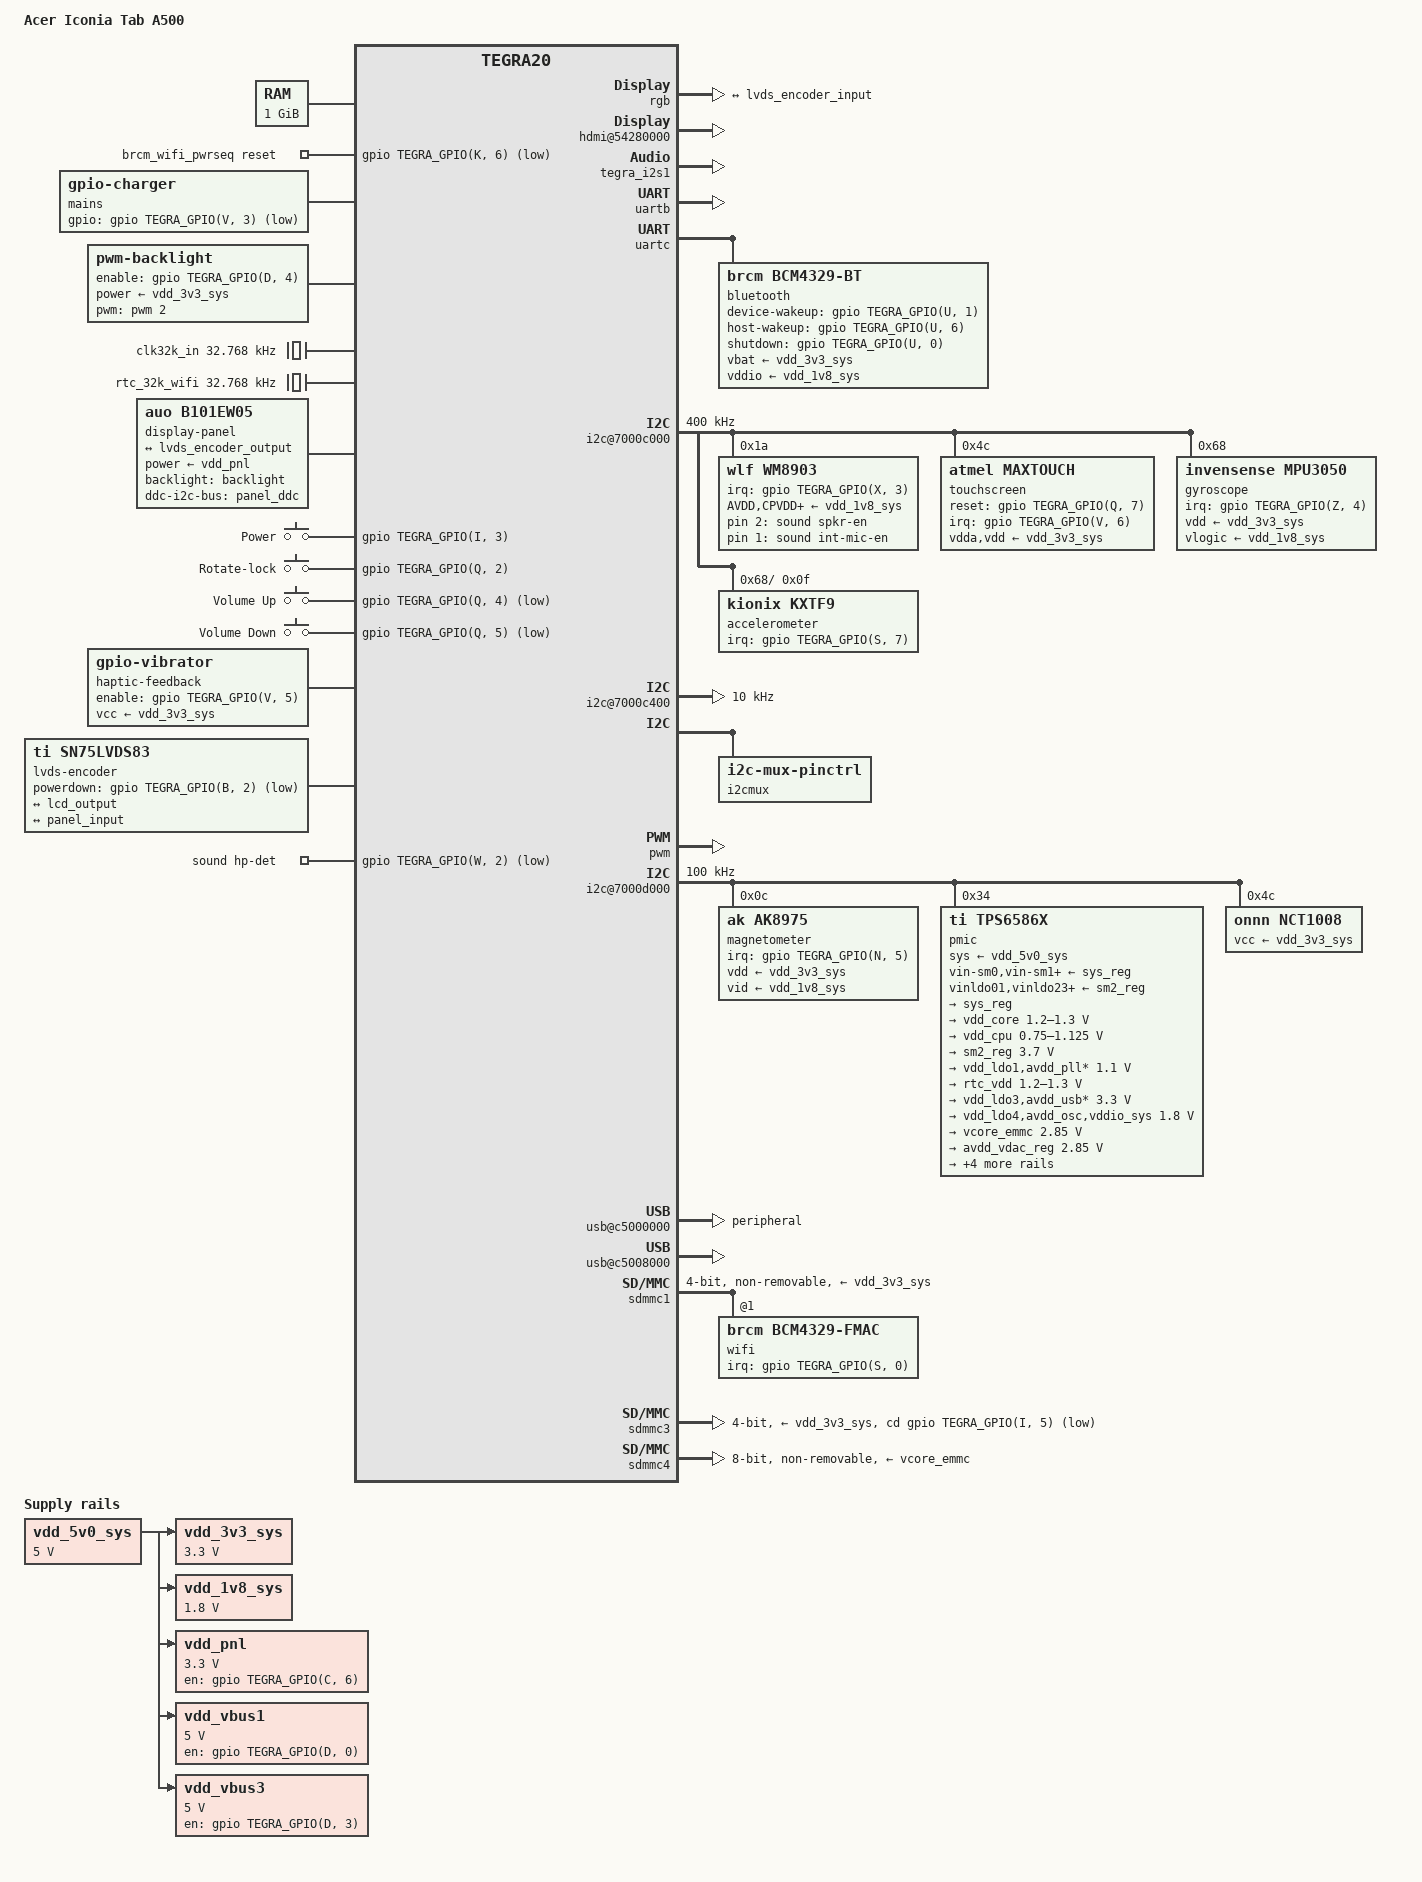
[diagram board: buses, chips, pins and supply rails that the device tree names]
// SPDX-License-Identifier: GPL-2.0
/dts-v1/;

#include <dt-bindings/input/gpio-keys.h>
#include <dt-bindings/input/input.h>
#include <dt-bindings/thermal/thermal.h>

#include "tegra20.dtsi"
#include "tegra20-cpu-opp.dtsi"
#include "tegra20-cpu-opp-microvolt.dtsi"

/ {
	model = "Acer Iconia Tab A500";
	compatible = "acer,picasso", "nvidia,tegra20";

	aliases {
		mmc0 = &sdmmc4; /* eMMC */
		mmc1 = &sdmmc3; /* MicroSD */
		mmc2 = &sdmmc1; /* WiFi */

		rtc0 = &pmic;
		rtc1 = "/rtc@7000e000";

		serial0 = &uartd; /* Docking station */
		serial1 = &uartc; /* Bluetooth */
		serial2 = &uartb; /* GPS */
	};

	/*
	 * The decompressor and also some bootloaders rely on a
	 * pre-existing /chosen node to be available to insert the
	 * command line and merge other ATAGS info.
	 */
	chosen {};

	memory@0 {
		reg = <0x00000000 0x40000000>;
	};

	reserved-memory {
		#address-cells = <1>;
		#size-cells = <1>;
		ranges;

		ramoops@2ffe0000 {
			compatible = "ramoops";
			reg = <0x2ffe0000 0x10000>;	/* 64kB */
			console-size = <0x8000>;	/* 32kB */
			record-size = <0x400>;		/*  1kB */
			ecc-size = <16>;
		};

		linux,cma@30000000 {
			compatible = "shared-dma-pool";
			alloc-ranges = <0x30000000 0x10000000>;
			size = <0x10000000>; /* 256MiB */
			linux,cma-default;
			reusable;
		};
	};

	host1x@50000000 {
		dc@54200000 {
			rgb {
				status = "okay";

				port@0 {
					lcd_output: endpoint {
						remote-endpoint = <&lvds_encoder_input>;
						bus-width = <18>;
					};
				};
			};
		};

		hdmi@54280000 {
			status = "okay";

			vdd-supply = <&hdmi_vdd_reg>;
			pll-supply = <&hdmi_pll_reg>;
			hdmi-supply = <&vdd_5v0_sys>;

			nvidia,ddc-i2c-bus = <&hdmi_ddc>;
			nvidia,hpd-gpio = <&gpio TEGRA_GPIO(N, 7)
				GPIO_ACTIVE_HIGH>;
		};
	};

	pinmux@70000014 {
		pinctrl-names = "default";
		pinctrl-0 = <&state_default>;

		state_default: pinmux {
			ata {
				nvidia,pins = "ata";
				nvidia,function = "ide";
			};
			atb {
				nvidia,pins = "atb", "gma", "gme";
				nvidia,function = "sdio4";
			};
			atc {
				nvidia,pins = "atc";
				nvidia,function = "nand";
			};
			atd {
				nvidia,pins = "atd", "ate", "gmb", "spia",
					"spib", "spic";
				nvidia,function = "gmi";
			};
			cdev1 {
				nvidia,pins = "cdev1";
				nvidia,function = "plla_out";
			};
			cdev2 {
				nvidia,pins = "cdev2";
				nvidia,function = "pllp_out4";
			};
			crtp {
				nvidia,pins = "crtp", "lm1";
				nvidia,function = "crt";
			};
			csus {
				nvidia,pins = "csus";
				nvidia,function = "vi_sensor_clk";
			};
			dap1 {
				nvidia,pins = "dap1";
				nvidia,function = "dap1";
			};
			dap2 {
				nvidia,pins = "dap2";
				nvidia,function = "dap2";
			};
			dap3 {
				nvidia,pins = "dap3";
				nvidia,function = "dap3";
			};
			dap4 {
				nvidia,pins = "dap4";
				nvidia,function = "dap4";
			};
			dta {
				nvidia,pins = "dta", "dtb", "dtc", "dtd", "dte";
				nvidia,function = "vi";
			};
			dtf {
				nvidia,pins = "dtf";
				nvidia,function = "i2c3";
			};
			gmc {
				nvidia,pins = "gmc";
				nvidia,function = "uartd";
			};
			gmd {
				nvidia,pins = "gmd";
				nvidia,function = "sflash";
			};
			gpu {
				nvidia,pins = "gpu";
				nvidia,function = "pwm";
			};
			gpu7 {
				nvidia,pins = "gpu7";
				nvidia,function = "rtck";
			};
			gpv {
				nvidia,pins = "gpv", "slxa";
				nvidia,function = "pcie";
			};
			hdint {
				nvidia,pins = "hdint";
				nvidia,function = "hdmi";
			};
			i2cp {
				nvidia,pins = "i2cp";
				nvidia,function = "i2cp";
			};
			irrx {
				nvidia,pins = "irrx", "irtx";
				nvidia,function = "uartb";
			};
			kbca {
				nvidia,pins = "kbca", "kbcb", "kbcc", "kbcd",
					"kbce", "kbcf";
				nvidia,function = "kbc";
			};
			lcsn {
				nvidia,pins = "lcsn", "ldc", "lm0", "lpw1",
					"lsdi", "lvp0";
				nvidia,function = "rsvd4";
			};
			ld0 {
				nvidia,pins = "ld0", "ld1", "ld2", "ld3", "ld4",
					"ld5", "ld6", "ld7", "ld8", "ld9",
					"ld10", "ld11", "ld12", "ld13", "ld14",
					"ld15", "ld16", "ld17", "ldi", "lhp0",
					"lhp1", "lhp2", "lhs", "lpp", "lsc0",
					"lsc1", "lsck", "lsda", "lspi", "lvp1",
					"lvs";
				nvidia,function = "displaya";
			};
			owc {
				nvidia,pins = "owc", "spdi", "spdo", "uac";
				nvidia,function = "rsvd2";
			};
			pmc {
				nvidia,pins = "pmc";
				nvidia,function = "pwr_on";
			};
			rm {
				nvidia,pins = "rm";
				nvidia,function = "i2c1";
			};
			sdb {
				nvidia,pins = "sdb", "sdc", "sdd", "slxc", "slxk";
				nvidia,function = "sdio3";
			};
			sdio1 {
				nvidia,pins = "sdio1";
				nvidia,function = "sdio1";
			};
			slxd {
				nvidia,pins = "slxd";
				nvidia,function = "spdif";
			};
			spid {
				nvidia,pins = "spid", "spie", "spif";
				nvidia,function = "spi1";
			};
			spig {
				nvidia,pins = "spig", "spih";
				nvidia,function = "spi2_alt";
			};
			uaa {
				nvidia,pins = "uaa", "uab", "uda";
				nvidia,function = "ulpi";
			};
			uad {
				nvidia,pins = "uad";
				nvidia,function = "irda";
			};
			uca {
				nvidia,pins = "uca", "ucb";
				nvidia,function = "uartc";
			};
			conf_ata {
				nvidia,pins = "ata", "atb", "atc", "atd",
					"cdev1", "cdev2", "csus", "dap1",
					"dap4", "dte", "dtf", "gma", "gmc",
					"gme", "gpu", "gpu7", "gpv", "i2cp",
					"irrx", "irtx", "pta", "rm",
					"sdc", "sdd", "slxc", "slxd", "slxk",
					"spdi", "spdo", "uac", "uad", "uda";
				nvidia,pull = <TEGRA_PIN_PULL_NONE>;
				nvidia,tristate = <TEGRA_PIN_DISABLE>;
			};
			conf_ate {
				nvidia,pins = "ate", "dap2", "dap3",
					"gmd", "owc", "spia", "spib", "spic",
					"spid", "spie";
				nvidia,pull = <TEGRA_PIN_PULL_NONE>;
				nvidia,tristate = <TEGRA_PIN_ENABLE>;
			};
			conf_ck32 {
				nvidia,pins = "ck32", "ddrc", "pmca", "pmcb",
					"pmcc", "pmcd", "pmce", "xm2c", "xm2d";
				nvidia,pull = <TEGRA_PIN_PULL_NONE>;
			};
			conf_crtp {
				nvidia,pins = "crtp", "gmb", "slxa", "spig",
					"spih";
				nvidia,pull = <TEGRA_PIN_PULL_UP>;
				nvidia,tristate = <TEGRA_PIN_ENABLE>;
			};
			conf_dta {
				nvidia,pins = "dta", "dtb", "dtc", "dtd", "kbcb";
				nvidia,pull = <TEGRA_PIN_PULL_DOWN>;
				nvidia,tristate = <TEGRA_PIN_DISABLE>;
			};
			conf_dte {
				nvidia,pins = "spif";
				nvidia,pull = <TEGRA_PIN_PULL_DOWN>;
				nvidia,tristate = <TEGRA_PIN_ENABLE>;
			};
			conf_hdint {
				nvidia,pins = "hdint", "lcsn", "ldc", "lm1",
					"lpw1", "lsck", "lsda", "lsdi",
					"lvp0";
				nvidia,tristate = <TEGRA_PIN_ENABLE>;
			};
			conf_kbca {
				nvidia,pins = "kbca", "kbcc", "kbcd",
					"kbce", "kbcf", "sdio1", "uaa",
					"uab", "uca", "ucb";
				nvidia,pull = <TEGRA_PIN_PULL_UP>;
				nvidia,tristate = <TEGRA_PIN_DISABLE>;
			};
			conf_lc {
				nvidia,pins = "lc", "ls";
				nvidia,pull = <TEGRA_PIN_PULL_UP>;
			};
			conf_ld0 {
				nvidia,pins = "ld0", "ld1", "ld2", "ld3", "ld4",
					"ld5", "ld6", "ld7", "ld8", "ld9",
					"ld10", "ld11", "ld12", "ld13", "ld14",
					"ld15", "ld16", "ld17", "ldi", "lhp0",
					"lhp1", "lhp2", "lhs", "lm0", "lpp",
					"lpw0", "lpw2", "lsc0", "lsc1", "lspi",
					"lvp1", "lvs", "pmc", "sdb";
				nvidia,tristate = <TEGRA_PIN_DISABLE>;
			};
			conf_ld17_0 {
				nvidia,pins = "ld17_0";
				nvidia,pull = <TEGRA_PIN_PULL_NONE>;
			};
			drive_ddc {
				nvidia,pins = "drive_ddc",
						"drive_vi1",
						"drive_sdio1";
				nvidia,pull-up-strength = <31>;
				nvidia,pull-down-strength = <31>;
				nvidia,schmitt = <TEGRA_PIN_ENABLE>;
				nvidia,high-speed-mode = <TEGRA_PIN_DISABLE>;
				nvidia,low-power-mode = <TEGRA_PIN_LP_DRIVE_DIV_1>;
				nvidia,slew-rate-rising = <TEGRA_PIN_SLEW_RATE_SLOWEST>;
				nvidia,slew-rate-falling = <TEGRA_PIN_SLEW_RATE_SLOWEST>;
			};
			drive_dbg {
				nvidia,pins = "drive_dbg",
						"drive_vi2",
						"drive_at1",
						"drive_ao1";
				nvidia,pull-up-strength = <31>;
				nvidia,pull-down-strength = <31>;
				nvidia,schmitt = <TEGRA_PIN_ENABLE>;
				nvidia,high-speed-mode = <TEGRA_PIN_DISABLE>;
				nvidia,low-power-mode = <TEGRA_PIN_LP_DRIVE_DIV_1>;
				nvidia,slew-rate-rising = <TEGRA_PIN_SLEW_RATE_FASTEST>;
				nvidia,slew-rate-falling = <TEGRA_PIN_SLEW_RATE_FASTEST>;
			};
		};

		state_i2cmux_ddc: pinmux_i2cmux_ddc {
			ddc {
				nvidia,pins = "ddc";
				nvidia,function = "i2c2";
			};
			pta {
				nvidia,pins = "pta";
				nvidia,function = "rsvd4";
			};
		};

		state_i2cmux_pta: pinmux_i2cmux_pta {
			ddc {
				nvidia,pins = "ddc";
				nvidia,function = "rsvd4";
			};
			pta {
				nvidia,pins = "pta";
				nvidia,function = "i2c2";
			};
		};

		state_i2cmux_idle: pinmux_i2cmux_idle {
			ddc {
				nvidia,pins = "ddc";
				nvidia,function = "rsvd4";
			};
			pta {
				nvidia,pins = "pta";
				nvidia,function = "rsvd4";
			};
		};
	};

	tegra_i2s1: i2s@70002800 {
		status = "okay";
	};

	uartb: serial@70006040 {
		compatible = "nvidia,tegra20-hsuart";
		/* GPS BCM4751 */
	};

	uartc: serial@70006200 {
		compatible = "nvidia,tegra20-hsuart";
		status = "okay";

		/* Azurewave AW-NH665 BCM4329B1 */
		bluetooth {
			compatible = "brcm,bcm4329-bt";

			/* PLLP 216MHz / 16 / 4 */
			max-speed = <3375000>;

			clocks = <&rtc_32k_wifi>;
			clock-names = "txco";

			vbat-supply  = <&vdd_3v3_sys>;
			vddio-supply = <&vdd_1v8_sys>;

			device-wakeup-gpios = <&gpio TEGRA_GPIO(U, 1) GPIO_ACTIVE_HIGH>;
			host-wakeup-gpios =   <&gpio TEGRA_GPIO(U, 6) GPIO_ACTIVE_HIGH>;
			shutdown-gpios =      <&gpio TEGRA_GPIO(U, 0) GPIO_ACTIVE_HIGH>;
		};
	};

	uartd: serial@70006300 {
		/* Docking station */
	};

	i2c@7000c000 {
		clock-frequency = <400000>;
		status = "okay";

		wm8903: audio-codec@1a {
			compatible = "wlf,wm8903";
			reg = <0x1a>;

			interrupt-parent = <&gpio>;
			interrupts = <TEGRA_GPIO(X, 3) IRQ_TYPE_LEVEL_HIGH>;

			gpio-controller;
			#gpio-cells = <2>;

			gpio-cfg = <
				0x0000 /* MIC_LR_OUT#    GPIO, output, low */
				0x0000 /* FM2018-enable  GPIO, output, low */
				0x0000 /* Speaker-enable GPIO, output, low */
				0x0200 /* Interrupt, output */
				0x01a0 /* BCLK, input, active high */
			>;

			AVDD-supply  = <&vdd_1v8_sys>;
			CPVDD-supply = <&vdd_1v8_sys>;
			DBVDD-supply = <&vdd_1v8_sys>;
			DCVDD-supply = <&vdd_1v8_sys>;
		};

		touchscreen@4c {
			compatible = "atmel,maxtouch";
			reg = <0x4c>;

			interrupt-parent = <&gpio>;
			interrupts = <TEGRA_GPIO(V, 6) IRQ_TYPE_LEVEL_LOW>;

			reset-gpios = <&gpio TEGRA_GPIO(Q, 7) GPIO_ACTIVE_HIGH>;

			vdda-supply = <&vdd_3v3_sys>;
			vdd-supply  = <&vdd_3v3_sys>;
		};

		gyroscope@68 {
			compatible = "invensense,mpu3050";
			reg = <0x68>;

			interrupt-parent = <&gpio>;
			interrupts = <TEGRA_GPIO(Z, 4) IRQ_TYPE_EDGE_RISING>;

			vdd-supply    = <&vdd_3v3_sys>;
			vlogic-supply = <&vdd_1v8_sys>;

			mount-matrix =	 "0",  "1",  "0",
					 "1",  "0",  "0",
					 "0",  "0", "-1";

			i2c-gate {
				#address-cells = <1>;
				#size-cells = <0>;

				accelerometer@f {
					compatible = "kionix,kxtf9";
					reg = <0x0f>;

					interrupt-parent = <&gpio>;
					interrupts = <TEGRA_GPIO(S, 7) IRQ_TYPE_EDGE_RISING>;

					mount-matrix =	 "0",  "1",  "0",
							 "1",  "0",  "0",
							 "0",  "0", "-1";
				};
			};
		};
	};

	i2c@7000c400 {
		clock-frequency = <10000>;
		status = "okay";
	};

	i2cmux {
		compatible = "i2c-mux-pinctrl";
		#address-cells = <1>;
		#size-cells = <0>;

		i2c-parent = <&{/i2c@7000c400}>;

		pinctrl-names = "ddc", "pta", "idle";
		pinctrl-0 = <&state_i2cmux_ddc>;
		pinctrl-1 = <&state_i2cmux_pta>;
		pinctrl-2 = <&state_i2cmux_idle>;

		hdmi_ddc: i2c@0 {
			reg = <0>;
			#address-cells = <1>;
			#size-cells = <0>;
		};

		panel_ddc: i2c@1 {
			reg = <1>;
			#address-cells = <1>;
			#size-cells = <0>;
		};
	};

	pwm: pwm@7000a000 {
		status = "okay";
	};

	i2c@7000d000 {
		clock-frequency = <100000>;
		status = "okay";

		magnetometer@c {
			compatible = "ak,ak8975";
			reg = <0x0c>;

			interrupt-parent = <&gpio>;
			interrupts = <TEGRA_GPIO(N, 5) IRQ_TYPE_EDGE_RISING>;

			vdd-supply = <&vdd_3v3_sys>;
			vid-supply = <&vdd_1v8_sys>;

			mount-matrix =	"1",  "0",  "0",
					"0", "-1",  "0",
					"0",  "0", "-1";
		};

		pmic: pmic@34 {
			compatible = "ti,tps6586x";
			reg = <0x34>;

			interrupts = <GIC_SPI 86 IRQ_TYPE_LEVEL_HIGH>;

			#gpio-cells = <2>;
			gpio-controller;

			sys-supply       = <&vdd_5v0_sys>;
			vin-sm0-supply   = <&sys_reg>;
			vin-sm1-supply   = <&sys_reg>;
			vin-sm2-supply   = <&sys_reg>;
			vinldo01-supply  = <&sm2_reg>;
			vinldo23-supply  = <&sm2_reg>;
			vinldo4-supply   = <&sm2_reg>;
			vinldo678-supply = <&sm2_reg>;
			vinldo9-supply   = <&sm2_reg>;

			regulators {
				sys_reg: sys {
					regulator-name = "vdd_sys";
					regulator-always-on;
				};

				vdd_core: sm0 {
					regulator-name = "vdd_sm0,vdd_core";
					regulator-min-microvolt = <1200000>;
					regulator-max-microvolt = <1300000>;
					regulator-coupled-with = <&rtc_vdd &vdd_cpu>;
					regulator-coupled-max-spread = <170000 550000>;
					regulator-always-on;
					regulator-boot-on;

					nvidia,tegra-core-regulator;
				};

				vdd_cpu: sm1 {
					regulator-name = "vdd_sm1,vdd_cpu";
					regulator-min-microvolt = <750000>;
					regulator-max-microvolt = <1125000>;
					regulator-coupled-with = <&vdd_core &rtc_vdd>;
					regulator-coupled-max-spread = <550000 550000>;
					regulator-always-on;
					regulator-boot-on;

					nvidia,tegra-cpu-regulator;
				};

				sm2_reg: sm2 {
					regulator-name = "vdd_sm2,vin_ldo*";
					regulator-min-microvolt = <3700000>;
					regulator-max-microvolt = <3700000>;
					regulator-always-on;
				};

				/* LDO0 is not connected to anything */

				ldo1 {
					regulator-name = "vdd_ldo1,avdd_pll*";
					regulator-min-microvolt = <1100000>;
					regulator-max-microvolt = <1100000>;
					regulator-always-on;
					regulator-boot-on;
				};

				rtc_vdd: ldo2 {
					regulator-name = "vdd_ldo2,vdd_rtc";
					regulator-min-microvolt = <1200000>;
					regulator-max-microvolt = <1300000>;
					regulator-coupled-with = <&vdd_core &vdd_cpu>;
					regulator-coupled-max-spread = <170000 550000>;
					regulator-always-on;
					regulator-boot-on;

					nvidia,tegra-rtc-regulator;
				};

				ldo3 {
					regulator-name = "vdd_ldo3,avdd_usb*";
					regulator-min-microvolt = <3300000>;
					regulator-max-microvolt = <3300000>;
					regulator-always-on;
				};

				ldo4 {
					regulator-name = "vdd_ldo4,avdd_osc,vddio_sys";
					regulator-min-microvolt = <1800000>;
					regulator-max-microvolt = <1800000>;
					regulator-always-on;
					regulator-boot-on;
				};

				vcore_emmc: ldo5 {
					regulator-name = "vdd_ldo5,vcore_mmc";
					regulator-min-microvolt = <2850000>;
					regulator-max-microvolt = <2850000>;
					regulator-always-on;
				};

				avdd_vdac_reg: ldo6 {
					regulator-name = "vdd_ldo6,avdd_vdac";
					regulator-min-microvolt = <2850000>;
					regulator-max-microvolt = <2850000>;
				};

				hdmi_vdd_reg: ldo7 {
					regulator-name = "vdd_ldo7,avdd_hdmi";
					regulator-min-microvolt = <3300000>;
					regulator-max-microvolt = <3300000>;
				};

				hdmi_pll_reg: ldo8 {
					regulator-name = "vdd_ldo8,avdd_hdmi_pll";
					regulator-min-microvolt = <1800000>;
					regulator-max-microvolt = <1800000>;
				};

				ldo9 {
					regulator-name = "vdd_ldo9,avdd_2v85,vdd_ddr_rx";
					regulator-min-microvolt = <2850000>;
					regulator-max-microvolt = <2850000>;
					regulator-always-on;
					regulator-boot-on;
				};

				ldo_rtc {
					regulator-name = "vdd_rtc_out,vdd_cell";
					regulator-min-microvolt = <3300000>;
					regulator-max-microvolt = <3300000>;
					regulator-always-on;
					regulator-boot-on;
				};
			};
		};

		nct1008: temperature-sensor@4c {
			compatible = "onnn,nct1008";
			reg = <0x4c>;
			vcc-supply = <&vdd_3v3_sys>;
			#thermal-sensor-cells = <1>;
		};
	};

	pmc@7000e400 {
		nvidia,invert-interrupt;
		nvidia,suspend-mode = <1>;
		nvidia,cpu-pwr-good-time = <2000>;
		nvidia,cpu-pwr-off-time = <100>;
		nvidia,core-pwr-good-time = <3845 3845>;
		nvidia,core-pwr-off-time = <458>;
		nvidia,sys-clock-req-active-high;
	};

	usb@c5000000 {
		compatible = "nvidia,tegra20-udc";
		status = "okay";
		dr_mode = "peripheral";
	};

	usb-phy@c5000000 {
		status = "okay";
		dr_mode = "peripheral";
		nvidia,xcvr-setup-use-fuses;
		nvidia,xcvr-lsfslew = <2>;
		nvidia,xcvr-lsrslew = <2>;
		vbus-supply = <&vdd_vbus1>;
	};

	usb@c5008000 {
		status = "okay";
	};

	usb-phy@c5008000 {
		status = "okay";
		nvidia,xcvr-setup-use-fuses;
		nvidia,xcvr-lsfslew = <2>;
		nvidia,xcvr-lsrslew = <2>;
		vbus-supply = <&vdd_vbus3>;
	};

	brcm_wifi_pwrseq: wifi-pwrseq {
		compatible = "mmc-pwrseq-simple";

		clocks = <&rtc_32k_wifi>;
		clock-names = "ext_clock";

		reset-gpios = <&gpio TEGRA_GPIO(K, 6) GPIO_ACTIVE_LOW>;
		post-power-on-delay-ms = <300>;
		power-off-delay-us = <300>;
	};

	sdmmc1: mmc@c8000000 {
		status = "okay";

		#address-cells = <1>;
		#size-cells = <0>;

		assigned-clocks = <&tegra_car TEGRA20_CLK_SDMMC1>;
		assigned-clock-parents = <&tegra_car TEGRA20_CLK_PLL_C>;
		assigned-clock-rates = <50000000>;

		max-frequency = <50000000>;
		keep-power-in-suspend;
		bus-width = <4>;
		non-removable;

		mmc-pwrseq = <&brcm_wifi_pwrseq>;
		vmmc-supply = <&vdd_3v3_sys>;
		vqmmc-supply = <&vdd_3v3_sys>;

		/* Azurewave AW-NH611 BCM4329 */
		wifi@1 {
			reg = <1>;
			compatible = "brcm,bcm4329-fmac";
			interrupt-parent = <&gpio>;
			interrupts = <TEGRA_GPIO(S, 0) IRQ_TYPE_LEVEL_HIGH>;
			interrupt-names = "host-wake";
		};
	};

	sdmmc3: mmc@c8000400 {
		status = "okay";
		bus-width = <4>;
		cd-gpios = <&gpio TEGRA_GPIO(I, 5) GPIO_ACTIVE_LOW>;
		power-gpios = <&gpio TEGRA_GPIO(I, 6) GPIO_ACTIVE_HIGH>;
		vmmc-supply = <&vdd_3v3_sys>;
		vqmmc-supply = <&vdd_3v3_sys>;
	};

	sdmmc4: mmc@c8000600 {
		status = "okay";
		bus-width = <8>;
		vmmc-supply = <&vcore_emmc>;
		vqmmc-supply = <&vdd_3v3_sys>;
		non-removable;
	};

	mains: ac-adapter-detect {
		compatible = "gpio-charger";
		charger-type = "mains";
		gpios = <&gpio TEGRA_GPIO(V, 3) GPIO_ACTIVE_LOW>;
	};

	backlight: backlight {
		compatible = "pwm-backlight";

		enable-gpios = <&gpio TEGRA_GPIO(D, 4) GPIO_ACTIVE_HIGH>;
		power-supply = <&vdd_3v3_sys>;
		pwms = <&pwm 2 41667>;

		brightness-levels = <7 255>;
		num-interpolated-steps = <248>;
		default-brightness-level = <20>;
	};

	/* PMIC has a built-in 32KHz oscillator which is used by PMC */
	clk32k_in: clock@0 {
		compatible = "fixed-clock";
		#clock-cells = <0>;
		clock-frequency = <32768>;
		clock-output-names = "tps658621-out32k";
	};

	/*
	 * This standalone onboard fixed-clock always-ON 32KHz
	 * oscillator is used as a reference clock-source by the
	 * Azurewave WiFi/BT module.
	 */
	rtc_32k_wifi: clock@1 {
		compatible = "fixed-clock";
		#clock-cells = <0>;
		clock-frequency = <32768>;
		clock-output-names = "kk3270032";
	};

	cpus {
		cpu0: cpu@0 {
			cpu-supply = <&vdd_cpu>;
			operating-points-v2 = <&cpu0_opp_table>;
			#cooling-cells = <2>;
		};

		cpu@1 {
			cpu-supply = <&vdd_cpu>;
			operating-points-v2 = <&cpu0_opp_table>;
		};
	};

	display-panel {
		compatible = "auo,b101ew05", "panel-lvds";

		ddc-i2c-bus = <&panel_ddc>;
		power-supply = <&vdd_pnl>;
		backlight = <&backlight>;

		width-mm = <218>;
		height-mm = <135>;

		data-mapping = "jeida-18";

		panel-timing {
			clock-frequency = <71200000>;
			hactive = <1280>;
			vactive = <800>;
			hfront-porch = <8>;
			hback-porch = <18>;
			hsync-len = <184>;
			vsync-len = <3>;
			vfront-porch = <4>;
			vback-porch = <8>;
		};

		port {
			panel_input: endpoint {
				remote-endpoint = <&lvds_encoder_output>;
			};
		};
	};

	gpio-keys {
		compatible = "gpio-keys";

		power {
			label = "Power";
			gpios = <&gpio TEGRA_GPIO(I, 3) GPIO_ACTIVE_HIGH>;
			linux,code = <KEY_POWER>;
			debounce-interval = <10>;
			wakeup-event-action = <EV_ACT_ASSERTED>;
			wakeup-source;
		};

		rotation-lock {
			label = "Rotate-lock";
			gpios = <&gpio TEGRA_GPIO(Q, 2) GPIO_ACTIVE_HIGH>;
			linux,code = <SW_ROTATE_LOCK>;
			linux,input-type = <EV_SW>;
			debounce-interval = <10>;
		};

		volume-up {
			label = "Volume Up";
			gpios = <&gpio TEGRA_GPIO(Q, 4) GPIO_ACTIVE_LOW>;
			linux,code = <KEY_VOLUMEUP>;
			debounce-interval = <10>;
			wakeup-event-action = <EV_ACT_ASSERTED>;
			wakeup-source;
		};

		volume-down {
			label = "Volume Down";
			gpios = <&gpio TEGRA_GPIO(Q, 5) GPIO_ACTIVE_LOW>;
			linux,code = <KEY_VOLUMEDOWN>;
			debounce-interval = <10>;
			wakeup-event-action = <EV_ACT_ASSERTED>;
			wakeup-source;
		};
	};

	haptic-feedback {
		compatible = "gpio-vibrator";
		enable-gpios = <&gpio TEGRA_GPIO(V, 5) GPIO_ACTIVE_HIGH>;
		vcc-supply = <&vdd_3v3_sys>;
	};

	lvds-encoder {
		compatible = "ti,sn75lvds83", "lvds-encoder";

		powerdown-gpios = <&gpio TEGRA_GPIO(B, 2) GPIO_ACTIVE_LOW>;

		ports {
			#address-cells = <1>;
			#size-cells = <0>;

			port@0 {
				reg = <0>;

				lvds_encoder_input: endpoint {
					remote-endpoint = <&lcd_output>;
				};
			};

			port@1 {
				reg = <1>;

				lvds_encoder_output: endpoint {
					remote-endpoint = <&panel_input>;
				};
			};
		};
	};

	vdd_5v0_sys: regulator@0 {
		compatible = "regulator-fixed";
		regulator-name = "vdd_5v0";
		regulator-min-microvolt = <5000000>;
		regulator-max-microvolt = <5000000>;
		regulator-always-on;
	};

	vdd_3v3_sys: regulator@1 {
		compatible = "regulator-fixed";
		regulator-name = "vdd_3v3_vs";
		regulator-min-microvolt = <3300000>;
		regulator-max-microvolt = <3300000>;
		regulator-always-on;
		vin-supply = <&vdd_5v0_sys>;
	};

	vdd_1v8_sys: regulator@2 {
		compatible = "regulator-fixed";
		regulator-name = "vdd_1v8_vs";
		regulator-min-microvolt = <1800000>;
		regulator-max-microvolt = <1800000>;
		regulator-always-on;
		vin-supply = <&vdd_5v0_sys>;
	};

	vdd_pnl: regulator@3 {
		compatible = "regulator-fixed";
		regulator-name = "vdd_panel";
		regulator-min-microvolt = <3300000>;
		regulator-max-microvolt = <3300000>;
		regulator-enable-ramp-delay = <300000>;
		gpio = <&gpio TEGRA_GPIO(C, 6) GPIO_ACTIVE_HIGH>;
		enable-active-high;
		vin-supply = <&vdd_5v0_sys>;
	};

	vdd_vbus1: regulator@4 {
		compatible = "regulator-fixed";
		regulator-name = "vdd_usb1_vbus";
		regulator-min-microvolt = <5000000>;
		regulator-max-microvolt = <5000000>;
		regulator-always-on;
		gpio = <&gpio TEGRA_GPIO(D, 0) GPIO_ACTIVE_HIGH>;
		enable-active-high;
		vin-supply = <&vdd_5v0_sys>;
	};

	vdd_vbus3: regulator@5 {
		compatible = "regulator-fixed";
		regulator-name = "vdd_usb3_vbus";
		regulator-min-microvolt = <5000000>;
		regulator-max-microvolt = <5000000>;
		regulator-always-on;
		gpio = <&gpio TEGRA_GPIO(D, 3) GPIO_ACTIVE_HIGH>;
		enable-active-high;
		vin-supply = <&vdd_5v0_sys>;
	};

	sound {
		compatible = "nvidia,tegra-audio-wm8903-picasso",
			     "nvidia,tegra-audio-wm8903";
		nvidia,model = "Acer Iconia Tab A500 WM8903";

		nvidia,audio-routing =
			"Headphone Jack", "HPOUTR",
			"Headphone Jack", "HPOUTL",
			"Int Spk", "LINEOUTL",
			"Int Spk", "LINEOUTR",
			"Mic Jack", "MICBIAS",
			"IN2L", "Mic Jack",
			"IN2R", "Mic Jack",
			"IN1L", "Int Mic",
			"IN1R", "Int Mic";

		nvidia,i2s-controller = <&tegra_i2s1>;
		nvidia,audio-codec = <&wm8903>;

		nvidia,spkr-en-gpios = <&wm8903 2 GPIO_ACTIVE_HIGH>;
		nvidia,hp-det-gpios = <&gpio TEGRA_GPIO(W, 2) GPIO_ACTIVE_LOW>;
		nvidia,int-mic-en-gpios = <&wm8903 1 GPIO_ACTIVE_HIGH>;
		nvidia,headset;

		clocks = <&tegra_car TEGRA20_CLK_PLL_A>,
			 <&tegra_car TEGRA20_CLK_PLL_A_OUT0>,
			 <&tegra_car TEGRA20_CLK_CDEV1>;
		clock-names = "pll_a", "pll_a_out0", "mclk";
	};

	thermal-zones {
		nct1008-local {
			polling-delay-passive = <1000>; /* milliseconds */
			polling-delay = <0>; /* milliseconds */

			thermal-sensors = <&nct1008 0>;
		};

		nct1008-remote {
			polling-delay-passive = <1000>; /* milliseconds */
			polling-delay = <5000>; /* milliseconds */

			thermal-sensors = <&nct1008 1>;

			trips {
				trip0: cpu-alert0 {
					/* start throttling at 50C */
					temperature = <50000>;
					hysteresis = <3000>;
					type = "passive";
				};

				trip1: cpu-crit {
					/* shut down at 60C */
					temperature = <60000>;
					hysteresis = <2000>;
					type = "critical";
				};
			};

			cooling-maps {
				map0 {
					trip = <&trip0>;
					cooling-device = <&cpu0 THERMAL_NO_LIMIT THERMAL_NO_LIMIT>;
				};
			};
		};
	};

	memory-controller@7000f400 {
		nvidia,use-ram-code;

		emc-tables@0 {
			nvidia,ram-code = <0>; /* elpida-8gb */

			#address-cells = <1>;
			#size-cells = <0>;

			emc-table@25000 {
				reg = <25000>;
				compatible = "nvidia,tegra20-emc-table";
				clock-frequency = <25000>;
				nvidia,emc-registers = <0x00000002 0x00000006
					0x00000003 0x00000003 0x00000006 0x00000004
					0x00000002 0x00000009 0x00000003 0x00000003
					0x00000002 0x00000002 0x00000002 0x00000004
					0x00000003 0x00000008 0x0000000b 0x0000004d
					0x00000000 0x00000003 0x00000003 0x00000003
					0x00000008 0x00000001 0x0000000a 0x00000004
					0x00000003 0x00000008 0x00000004 0x00000006
					0x00000002 0x00000068 0x00000000 0x00000003
					0x00000000 0x00000000 0x00000282 0xa0ae04ae
					0x00070000 0x00000000 0x00000000 0x00000003
					0x00000000 0x00000000 0x00000000 0x00000000>;
			};

			emc-table@50000 {
				reg = <50000>;
				compatible = "nvidia,tegra20-emc-table";
				clock-frequency = <50000>;
				nvidia,emc-registers = <0x00000003 0x00000007
					0x00000003 0x00000003 0x00000006 0x00000004
					0x00000002 0x00000009 0x00000003 0x00000003
					0x00000002 0x00000002 0x00000002 0x00000005
					0x00000003 0x00000008 0x0000000b 0x0000009f
					0x00000000 0x00000003 0x00000003 0x00000003
					0x00000008 0x00000001 0x0000000a 0x00000007
					0x00000003 0x00000008 0x00000004 0x00000006
					0x00000002 0x000000d0 0x00000000 0x00000000
					0x00000000 0x00000000 0x00000282 0xa0ae04ae
					0x00070000 0x00000000 0x00000000 0x00000005
					0x00000000 0x00000000 0x00000000 0x00000000>;
			};

			emc-table@75000 {
				reg = <75000>;
				compatible = "nvidia,tegra20-emc-table";
				clock-frequency = <75000>;
				nvidia,emc-registers = <0x00000005 0x0000000a
					0x00000004 0x00000003 0x00000006 0x00000004
					0x00000002 0x00000009 0x00000003 0x00000003
					0x00000002 0x00000002 0x00000002 0x00000005
					0x00000003 0x00000008 0x0000000b 0x000000ff
					0x00000000 0x00000003 0x00000003 0x00000003
					0x00000008 0x00000001 0x0000000a 0x0000000b
					0x00000003 0x00000008 0x00000004 0x00000006
					0x00000002 0x00000138 0x00000000 0x00000000
					0x00000000 0x00000000 0x00000282 0xa0ae04ae
					0x00070000 0x00000000 0x00000000 0x00000007
					0x00000000 0x00000000 0x00000000 0x00000000>;
			};

			emc-table@150000 {
				reg = <150000>;
				compatible = "nvidia,tegra20-emc-table";
				clock-frequency = <150000>;
				nvidia,emc-registers = <0x00000009 0x00000014
					0x00000007 0x00000003 0x00000006 0x00000004
					0x00000002 0x00000009 0x00000003 0x00000003
					0x00000002 0x00000002 0x00000002 0x00000005
					0x00000003 0x00000008 0x0000000b 0x0000021f
					0x00000000 0x00000003 0x00000003 0x00000003
					0x00000008 0x00000001 0x0000000a 0x00000015
					0x00000003 0x00000008 0x00000004 0x00000006
					0x00000002 0x00000270 0x00000000 0x00000001
					0x00000000 0x00000000 0x00000282 0xa07c04ae
					0x007dd510 0x00000000 0x00000000 0x0000000e
					0x00000000 0x00000000 0x00000000 0x00000000>;
			};

			emc-table@300000 {
				reg = <300000>;
				compatible = "nvidia,tegra20-emc-table";
				clock-frequency = <300000>;
				nvidia,emc-registers = <0x00000012 0x00000027
					0x0000000d 0x00000006 0x00000007 0x00000005
					0x00000003 0x00000009 0x00000006 0x00000006
					0x00000003 0x00000003 0x00000002 0x00000006
					0x00000003 0x00000009 0x0000000c 0x0000045f
					0x00000000 0x00000004 0x00000004 0x00000006
					0x00000008 0x00000001 0x0000000e 0x0000002a
					0x00000003 0x0000000f 0x00000007 0x00000005
					0x00000002 0x000004e1 0x00000005 0x00000002
					0x00000000 0x00000000 0x00000282 0xe059048b
					0x007e1510 0x00000000 0x00000000 0x0000001b
					0x00000000 0x00000000 0x00000000 0x00000000>;
			};
		};

		emc-tables@1 {
			nvidia,ram-code = <1>; /* elpida-4gb */

			#address-cells = <1>;
			#size-cells = <0>;

			emc-table@25000 {
				reg = <25000>;
				compatible = "nvidia,tegra20-emc-table";
				clock-frequency = <25000>;
				nvidia,emc-registers = <0x00000002 0x00000006
					0x00000003 0x00000003 0x00000006 0x00000004
					0x00000002 0x00000009 0x00000003 0x00000003
					0x00000002 0x00000002 0x00000002 0x00000004
					0x00000003 0x00000008 0x0000000b 0x0000004d
					0x00000000 0x00000003 0x00000003 0x00000003
					0x00000008 0x00000001 0x0000000a 0x00000004
					0x00000003 0x00000008 0x00000004 0x00000006
					0x00000002 0x00000068 0x00000000 0x00000003
					0x00000000 0x00000000 0x00000282 0xa0ae04ae
					0x0007c000 0x00000000 0x00000000 0x00000003
					0x00000000 0x00000000 0x00000000 0x00000000>;
			};

			emc-table@50000 {
				reg = <50000>;
				compatible = "nvidia,tegra20-emc-table";
				clock-frequency = <50000>;
				nvidia,emc-registers = <0x00000003 0x00000007
					0x00000003 0x00000003 0x00000006 0x00000004
					0x00000002 0x00000009 0x00000003 0x00000003
					0x00000002 0x00000002 0x00000002 0x00000005
					0x00000003 0x00000008 0x0000000b 0x0000009f
					0x00000000 0x00000003 0x00000003 0x00000003
					0x00000008 0x00000001 0x0000000a 0x00000007
					0x00000003 0x00000008 0x00000004 0x00000006
					0x00000002 0x000000d0 0x00000000 0x00000000
					0x00000000 0x00000000 0x00000282 0xa0ae04ae
					0x0007c000 0x00000000 0x00000000 0x00000005
					0x00000000 0x00000000 0x00000000 0x00000000>;
			};

			emc-table@75000 {
				reg = <75000>;
				compatible = "nvidia,tegra20-emc-table";
				clock-frequency = <75000>;
				nvidia,emc-registers = <0x00000005 0x0000000a
					0x00000004 0x00000003 0x00000006 0x00000004
					0x00000002 0x00000009 0x00000003 0x00000003
					0x00000002 0x00000002 0x00000002 0x00000005
					0x00000003 0x00000008 0x0000000b 0x000000ff
					0x00000000 0x00000003 0x00000003 0x00000003
					0x00000008 0x00000001 0x0000000a 0x0000000b
					0x00000003 0x00000008 0x00000004 0x00000006
					0x00000002 0x00000138 0x00000000 0x00000000
					0x00000000 0x00000000 0x00000282 0xa0ae04ae
					0x0007c000 0x00000000 0x00000000 0x00000007
					0x00000000 0x00000000 0x00000000 0x00000000>;
			};

			emc-table@150000 {
				reg = <150000>;
				compatible = "nvidia,tegra20-emc-table";
				clock-frequency = <150000>;
				nvidia,emc-registers = <0x00000009 0x00000014
					0x00000007 0x00000003 0x00000006 0x00000004
					0x00000002 0x00000009 0x00000003 0x00000003
					0x00000002 0x00000002 0x00000002 0x00000005
					0x00000003 0x00000008 0x0000000b 0x0000021f
					0x00000000 0x00000003 0x00000003 0x00000003
					0x00000008 0x00000001 0x0000000a 0x00000015
					0x00000003 0x00000008 0x00000004 0x00000006
					0x00000002 0x00000270 0x00000000 0x00000001
					0x00000000 0x00000000 0x00000282 0xa07c04ae
					0x007e4010 0x00000000 0x00000000 0x0000000e
					0x00000000 0x00000000 0x00000000 0x00000000>;
			};

			emc-table@300000 {
				reg = <300000>;
				compatible = "nvidia,tegra20-emc-table";
				clock-frequency = <300000>;
				nvidia,emc-registers = <0x00000012 0x00000027
					0x0000000d 0x00000006 0x00000007 0x00000005
					0x00000003 0x00000009 0x00000006 0x00000006
					0x00000003 0x00000003 0x00000002 0x00000006
					0x00000003 0x00000009 0x0000000c 0x0000045f
					0x00000000 0x00000004 0x00000004 0x00000006
					0x00000008 0x00000001 0x0000000e 0x0000002a
					0x00000003 0x0000000f 0x00000007 0x00000005
					0x00000002 0x000004e1 0x00000005 0x00000002
					0x00000000 0x00000000 0x00000282 0xe059048b
					0x007e0010 0x00000000 0x00000000 0x0000001b
					0x00000000 0x00000000 0x00000000 0x00000000>;
			};
		};

		emc-tables@2 {
			nvidia,ram-code = <2>; /* hynix-8gb */

			#address-cells = <1>;
			#size-cells = <0>;

			emc-table@25000 {
				reg = <25000>;
				compatible = "nvidia,tegra20-emc-table";
				clock-frequency = <25000>;
				nvidia,emc-registers = <0x00000002 0x00000006
					0x00000003 0x00000003 0x00000006 0x00000004
					0x00000002 0x00000009 0x00000003 0x00000003
					0x00000002 0x00000002 0x00000002 0x00000004
					0x00000003 0x00000008 0x0000000b 0x0000004d
					0x00000000 0x00000003 0x00000003 0x00000003
					0x00000008 0x00000001 0x0000000a 0x00000004
					0x00000003 0x00000008 0x00000004 0x00000006
					0x00000002 0x00000068 0x00000000 0x00000003
					0x00000000 0x00000000 0x00000282 0xa0ae04ae
					0x00070000 0x00000000 0x00000000 0x00000003
					0x00000000 0x00000000 0x00000000 0x00000000>;
			};

			emc-table@50000 {
				reg = <50000>;
				compatible = "nvidia,tegra20-emc-table";
				clock-frequency = <50000>;
				nvidia,emc-registers = <0x00000003 0x00000007
					0x00000003 0x00000003 0x00000006 0x00000004
					0x00000002 0x00000009 0x00000003 0x00000003
					0x00000002 0x00000002 0x00000002 0x00000005
					0x00000003 0x00000008 0x0000000b 0x0000009f
					0x00000000 0x00000003 0x00000003 0x00000003
					0x00000008 0x00000001 0x0000000a 0x00000007
					0x00000003 0x00000008 0x00000004 0x00000006
					0x00000002 0x000000d0 0x00000000 0x00000000
					0x00000000 0x00000000 0x00000282 0xa0ae04ae
					0x00070000 0x00000000 0x00000000 0x00000005
					0x00000000 0x00000000 0x00000000 0x00000000>;
			};

			emc-table@75000 {
				reg = <75000>;
				compatible = "nvidia,tegra20-emc-table";
				clock-frequency = <75000>;
				nvidia,emc-registers = <0x00000005 0x0000000a
					0x00000004 0x00000003 0x00000006 0x00000004
					0x00000002 0x00000009 0x00000003 0x00000003
					0x00000002 0x00000002 0x00000002 0x00000005
					0x00000003 0x00000008 0x0000000b 0x000000ff
					0x00000000 0x00000003 0x00000003 0x00000003
					0x00000008 0x00000001 0x0000000a 0x0000000b
					0x00000003 0x00000008 0x00000004 0x00000006
					0x00000002 0x00000138 0x00000000 0x00000000
					0x00000000 0x00000000 0x00000282 0xa0ae04ae
					0x00070000 0x00000000 0x00000000 0x00000007
					0x00000000 0x00000000 0x00000000 0x00000000>;
			};

			emc-table@150000 {
				reg = <150000>;
				compatible = "nvidia,tegra20-emc-table";
				clock-frequency = <150000>;
				nvidia,emc-registers = <0x00000009 0x00000014
					0x00000007 0x00000003 0x00000006 0x00000004
					0x00000002 0x00000009 0x00000003 0x00000003
					0x00000002 0x00000002 0x00000002 0x00000005
					0x00000003 0x00000008 0x0000000b 0x0000021f
					0x00000000 0x00000003 0x00000003 0x00000003
					0x00000008 0x00000001 0x0000000a 0x00000015
					0x00000003 0x00000008 0x00000004 0x00000006
					0x00000002 0x00000270 0x00000000 0x00000001
					0x00000000 0x00000000 0x00000282 0xa07c04ae
					0x007dd010 0x00000000 0x00000000 0x0000000e
					0x00000000 0x00000000 0x00000000 0x00000000>;
			};

			emc-table@300000 {
				reg = <300000>;
				compatible = "nvidia,tegra20-emc-table";
				clock-frequency = <300000>;
				nvidia,emc-registers = <0x00000012 0x00000027
					0x0000000d 0x00000006 0x00000007 0x00000005
					0x00000003 0x00000009 0x00000006 0x00000006
					0x00000003 0x00000003 0x00000002 0x00000006
					0x00000003 0x00000009 0x0000000c 0x0000045f
					0x00000000 0x00000004 0x00000004 0x00000006
					0x00000008 0x00000001 0x0000000e 0x0000002a
					0x00000003 0x0000000f 0x00000007 0x00000005
					0x00000002 0x000004e1 0x00000005 0x00000002
					0x00000000 0x00000000 0x00000282 0xe059048b
					0x007e2010 0x00000000 0x00000000 0x0000001b
					0x00000000 0x00000000 0x00000000 0x00000000>;
			};
		};

		emc-tables@3 {
			nvidia,ram-code = <3>; /* hynix-4gb */

			#address-cells = <1>;
			#size-cells = <0>;

			emc-table@25000 {
				reg = <25000>;
				compatible = "nvidia,tegra20-emc-table";
				clock-frequency = <25000>;
				nvidia,emc-registers = <0x00000002 0x00000006
					0x00000003 0x00000003 0x00000006 0x00000004
					0x00000002 0x00000009 0x00000003 0x00000003
					0x00000002 0x00000002 0x00000002 0x00000004
					0x00000003 0x00000008 0x0000000b 0x0000004d
					0x00000000 0x00000003 0x00000003 0x00000003
					0x00000008 0x00000001 0x0000000a 0x00000004
					0x00000003 0x00000008 0x00000004 0x00000006
					0x00000002 0x00000068 0x00000000 0x00000003
					0x00000000 0x00000000 0x00000282 0xa0ae04ae
					0x0007c000 0x00000000 0x00000000 0x00000003
					0x00000000 0x00000000 0x00000000 0x00000000>;
			};

			emc-table@50000 {
				reg = <50000>;
				compatible = "nvidia,tegra20-emc-table";
				clock-frequency = <50000>;
				nvidia,emc-registers = <0x00000003 0x00000007
					0x00000003 0x00000003 0x00000006 0x00000004
					0x00000002 0x00000009 0x00000003 0x00000003
					0x00000002 0x00000002 0x00000002 0x00000005
					0x00000003 0x00000008 0x0000000b 0x0000009f
					0x00000000 0x00000003 0x00000003 0x00000003
					0x00000008 0x00000001 0x0000000a 0x00000007
					0x00000003 0x00000008 0x00000004 0x00000006
					0x00000002 0x000000d0 0x00000000 0x00000000
					0x00000000 0x00000000 0x00000282 0xa0ae04ae
					0x0007c000 0x00078000 0x00000000 0x00000005
					0x00000000 0x00000000 0x00000000 0x00000000>;
			};

			emc-table@75000 {
				reg = <75000>;
				compatible = "nvidia,tegra20-emc-table";
				clock-frequency = <75000>;
				nvidia,emc-registers = <0x00000005 0x0000000a
					0x00000004 0x00000003 0x00000006 0x00000004
					0x00000002 0x00000009 0x00000003 0x00000003
					0x00000002 0x00000002 0x00000002 0x00000005
					0x00000003 0x00000008 0x0000000b 0x000000ff
					0x00000000 0x00000003 0x00000003 0x00000003
					0x00000008 0x00000001 0x0000000a 0x0000000b
					0x00000003 0x00000008 0x00000004 0x00000006
					0x00000002 0x00000138 0x00000000 0x00000000
					0x00000000 0x00000000 0x00000282 0xa0ae04ae
					0x0007c000 0x00000000 0x00000000 0x00000007
					0x00000000 0x00000000 0x00000000 0x00000000>;
			};

			emc-table@150000 {
				reg = <150000>;
				compatible = "nvidia,tegra20-emc-table";
				clock-frequency = <150000>;
				nvidia,emc-registers = <0x00000009 0x00000014
					0x00000007 0x00000003 0x00000006 0x00000004
					0x00000002 0x00000009 0x00000003 0x00000003
					0x00000002 0x00000002 0x00000002 0x00000005
					0x00000003 0x00000008 0x0000000b 0x0000021f
					0x00000000 0x00000003 0x00000003 0x00000003
					0x00000008 0x00000001 0x0000000a 0x00000015
					0x00000003 0x00000008 0x00000004 0x00000006
					0x00000002 0x00000270 0x00000000 0x00000001
					0x00000000 0x00000000 0x00000282 0xa07c04ae
					0x007e4010 0x00000000 0x00000000 0x0000000e
					0x00000000 0x00000000 0x00000000 0x00000000>;
			};

			emc-table@300000 {
				reg = <300000>;
				compatible = "nvidia,tegra20-emc-table";
				clock-frequency = <300000>;
				nvidia,emc-registers = <0x00000012 0x00000027
					0x0000000d 0x00000006 0x00000007 0x00000005
					0x00000003 0x00000009 0x00000006 0x00000006
					0x00000003 0x00000003 0x00000002 0x00000006
					0x00000003 0x00000009 0x0000000c 0x0000045f
					0x00000000 0x00000004 0x00000004 0x00000006
					0x00000008 0x00000001 0x0000000e 0x0000002a
					0x00000003 0x0000000f 0x00000007 0x00000005
					0x00000002 0x000004e1 0x00000005 0x00000002
					0x00000000 0x00000000 0x00000282 0xe059048b
					0x007e0010 0x00000000 0x00000000 0x0000001b
					0x00000000 0x00000000 0x00000000 0x00000000>;
			};
		};
	};
};
